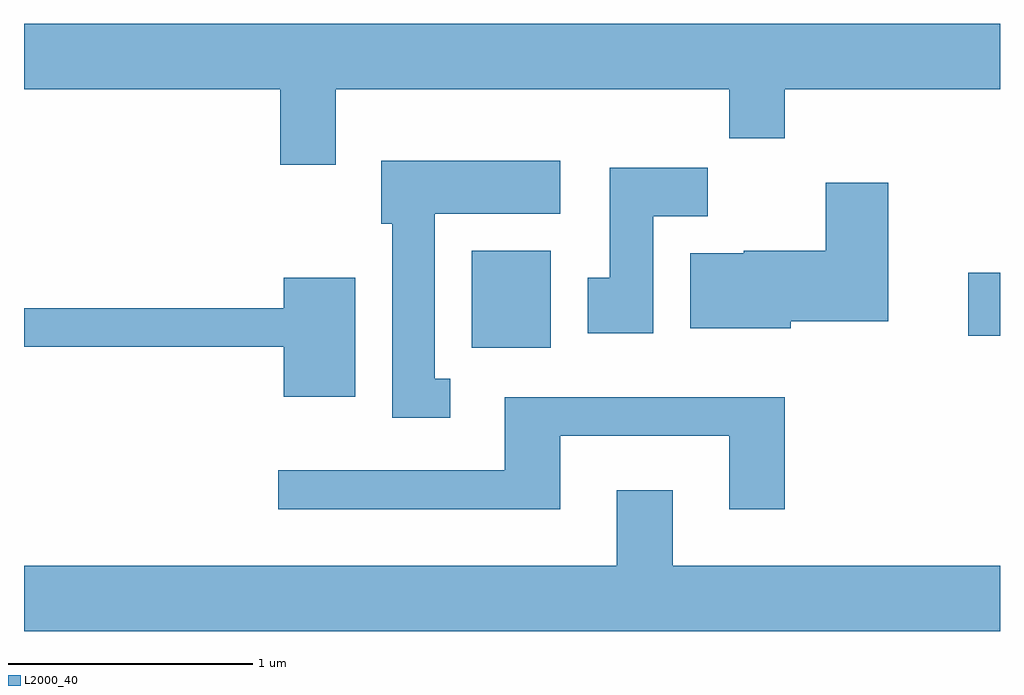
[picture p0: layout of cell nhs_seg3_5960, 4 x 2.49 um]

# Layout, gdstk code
import gdstk
lib = gdstk.Library(unit=1e-6, precision=1e-09)
def R(c, l, rs):  # rectangles x0, y0, x1, y1
    for r in rs: c.add(gdstk.rectangle(r[:2], r[2:], *l))
def P(c, l, *ps):  # polygons
    for p in ps: c.add(gdstk.Polygon(p, *l))
L2000_40 = (2000, 40)

nhs_seg3_5960 = lib.new_cell('nhs_seg3_5960')
R(nhs_seg3_5960, L2000_40, [(361.446,1213.756,361.769,1214.154), (363.481,1213.806,363.611,1214.064)])
P(nhs_seg3_5960, L2000_40, [(360.889,1214.816),(362.501,1214.816),(362.501,1214.616),(362.729,1214.616),(362.729,1214.816),(363.611,1214.816),(363.611,1215.084),(359.611,1215.084),(359.611,1214.816),(360.661,1214.816),(360.661,1214.506),(360.889,1214.506)],
  [(361.358,1213.629),(361.294,1213.629),(361.294,1214.306),(361.809,1214.306),(361.809,1214.524),(361.076,1214.524),(361.076,1214.266),(361.121,1214.266),(361.121,1213.471),(361.358,1213.471)],
  [(362.189,1214.296),(362.414,1214.296),(362.414,1214.494),(362.011,1214.494),(362.011,1214.044),(361.921,1214.044),(361.921,1213.816),(362.189,1213.816)],
  [(362.754,1213.866),(363.154,1213.866),(363.154,1214.434),(362.896,1214.434),(362.896,1214.154),(362.56,1214.154),(362.56,1214.144),(362.341,1214.144),(362.341,1213.836),(362.754,1213.836)],
  [(360.969,1214.044),(360.676,1214.044),(360.676,1213.919),(359.611,1213.919),(359.611,1213.761),(360.676,1213.761),(360.676,1213.556),(360.969,1213.556)],
  [(361.809,1213.396),(362.501,1213.396),(362.501,1213.096),(362.729,1213.096),(362.729,1213.554),(361.581,1213.554),(361.581,1213.254),(360.653,1213.254),(360.653,1213.096),(361.809,1213.096)],
  [(363.611,1212.864),(362.269,1212.864),(362.269,1213.174),(362.041,1213.174),(362.041,1212.864),(359.611,1212.864),(359.611,1212.596),(363.611,1212.596)])

lib.write_gds('nhs_seg3_5960.gds')
